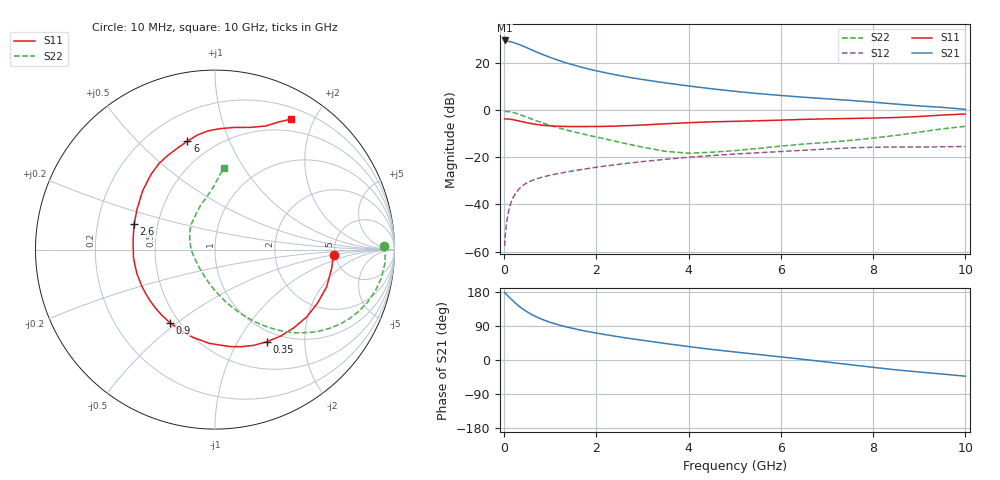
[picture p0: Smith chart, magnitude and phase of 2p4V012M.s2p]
! (c) 2009  Infineon Technologies AG, Munich
! Infineon Technologies  Discrete & RF Semiconductors
! BFP420
! VCE =  4.0 V,  IC =  12 mA
! Common Emitter S-Parameters:  Nov 2009
# GHz  S  MA  R  50
!  f  S11  S21  S12  S22
! GHz  MAG  ANG  MAG  ANG  MAG  ANG  MAG  ANG
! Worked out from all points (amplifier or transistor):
!   46 points, 10 MHz to 10 GHz, reference 50 ohm
!   highest |S21| = 29.8 dB at 10 MHz (marker M1)
!   |S21| within 3 dB of that: start of sweep to 480.9 MHz
!   unconditionally stable (mu >= 1): start of sweep to 16.84 MHz; 2.226 GHz to end of sweep
!   at 300 MHz: K = 0.27, MSG = 31.1 dB, |S12| = -33.9 dB
!   at 1.7 GHz: K = 0.86, MSG = 21.7 dB, |S12| = -25.1 dB
!   at 10 GHz: K = 1.08, MAG = 6.1 dB, |S12| = -15.3 dB
!   lowest NFmin = 0.95 dB at 900 MHz
!   S11 on the Smith chart (normalised r, x): 10 MHz: 4.86, -0.52; 350 MHz: 0.85, -1.33; 900 MHz: 0.45, -0.47; 2.6 GHz: 0.37, +0.13; 6 GHz: 0.36, +0.71; 10 GHz: 0.34, +1.68
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0.01  0.6621 -2.6  30.76 178.7  0.0013 36.2  0.9409 1.1
0.02  0.6595 -3.7  29.92 176.9  0.0019 51.6  0.9491 -1.7
0.1  0.6559 -18.5  29.36 167.0  0.0075 72.4  0.9403 -9.7
0.2  0.6338 -36.4  27.83 155.2  0.0144 69.7  0.8987 -19.1
0.25  0.6184 -44.8  26.77 149.5  0.0174 67.3  0.8716 -23.3
0.35  0.5887 -60.8  24.68 139.6  0.0228 62.4  0.8089 -31.0
0.45  0.5603 -74.9  22.45 130.8  0.0272 58.3  0.7446 -37.4
0.6  0.5234 -93.4  19.36 119.8  0.0323 53.8  0.6548 -45.2
0.7  0.5042 -104.1  17.57 113.7  0.0351 51.7  0.6025 -49.4
0.9  0.4783 -121.8  14.6 103.7  0.0398 48.9  0.5167 -56.2
1.2  0.4602 -142.5  11.43 92.1  0.046 46.6  0.4209 -64.5
1.4  0.4557 -153.5  9.903 85.9  0.05 45.7  0.3735 -69.2
1.7  0.454 -167.1  8.209 77.9  0.0559 44.6  0.3167 -75.6
2.2  0.4585 174.7  6.312 66.8  0.0659 42.5  0.2462 -86.3
2.6  0.4725 162.5  5.296 59.0  0.0738 40.3  0.2012 -96.7
3.5  0.5198 140.7  3.845 43.5  0.0914 34.6  0.1349 -129.2
4.5  0.5728 122.9  2.888 27.9  0.1099 26.9  0.1294 -174.7
5.5  0.6022 110.4  2.288 14.7  0.126 19.2  0.1553 155.2
6  0.6235 104.3  2.08 8.2  0.1339 15.5  0.1743 143.4
7  0.6625 93.4  1.765 -5.4  0.1512 6.9  0.2086 124.2
8.5  0.7082 74.0  1.363 -26.0  0.1664 -9.1  0.2952 99.2
10  0.8393 59.9  1.055 -42.7  0.1711 -19.8  0.4595 83.7
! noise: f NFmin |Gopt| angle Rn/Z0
0.9  0.95  0.03  -151  0.13
1.8  1.27  0.13  -152  0.12
2.4  1.38  0.13  -160  0.14
3  1.43  0.22  -145  0.13
4  1.58  0.35  -123  0.17
5  2.03  0.43  -103  0.28
6  2.4  0.47  -91  0.43
